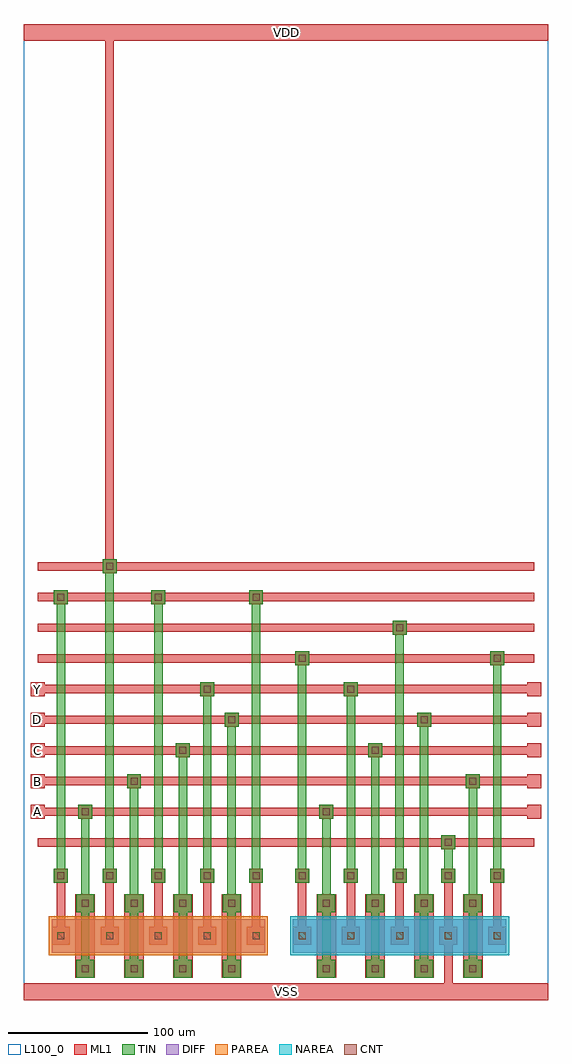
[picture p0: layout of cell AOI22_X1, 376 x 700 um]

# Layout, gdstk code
import gdstk
lib = gdstk.Library(unit=1e-6, precision=1e-09)
def R(c, l, rs):  # rectangles x0, y0, x1, y1
    for r in rs: c.add(gdstk.rectangle(r[:2], r[2:], *l))
def A(c, l, x, y, w, h, nx, ny, dx, dy):  # array of equal rectangles
    R(c, l, [(x+i*dx, y+j*dy, x+i*dx+w, y+j*dy+h) for i in range(nx) for j in range(ny)])
DIFF = (3, 0)
TIN = (5, 0)
CNT = (7, 0)
ML1 = (8, 0)
PAREA = (18, 0)
NAREA = (19, 0)
L100_0 = (100, 0)

aoi22_x1 = lib.new_cell('AOI22_X1')
R(aoi22_x1, DIFF, [(20,34,173,58), (193,34,346,58)])
A(aoi22_x1, TIN, 37.5, 16, 13, 13, 4, 2, 35, 47)
A(aoi22_x1, TIN, 210.5, 16, 13, 13, 4, 2, 35, 47)
A(aoi22_x1, TIN, 41, 28, 6, 37.5, 4, 1, 35, 0)
A(aoi22_x1, TIN, 214, 28, 6, 37.5, 4, 1, 35, 0)
A(aoi22_x1, TIN, 21.5, 84, 10, 10, 5, 1, 35, 0)
A(aoi22_x1, TIN, 194.5, 84, 10, 10, 5, 1, 35, 0)
A(aoi22_x1, TIN, 23.5, 89, 6, 200, 3, 1, 70, 0)
A(aoi22_x1, TIN, 21.5, 284, 10, 10, 3, 1, 70, 0)
R(aoi22_x1, TIN, [(41,69.5,47,135), (76,69.5,82,157), (111,69.5,117,179), (146,69.5,152,201), (214,69.5,220,135), (249,69.5,255,179), (284,69.5,290,201), (319,69.5,325,157), (58.5,89,64.5,311), (128.5,89,134.5,223), (196.5,89,202.5,245), (231.5,89,237.5,223), (266.5,89,272.5,267), (301.5,89,307.5,113), (336.5,89,342.5,245), (299.5,108,309.5,118), (39,130,49,140), (212,130,222,140), (74,152,84,162), (317,152,327,162), (109,174,119,184), (247,174,257,184), (144,196,154,206), (282,196,292,206), (126.5,218,136.5,228), (229.5,218,239.5,228), (194.5,240,204.5,250), (334.5,240,344.5,250), (264.5,262,274.5,272), (56.5,306,66.5,316)])
A(aoi22_x1, CNT, 41.5, 20, 5, 5, 4, 2, 35, 47)
A(aoi22_x1, CNT, 214.5, 20, 5, 5, 4, 2, 35, 47)
A(aoi22_x1, CNT, 24, 43.5, 5, 5, 5, 2, 35, 43)
A(aoi22_x1, CNT, 197, 43.5, 5, 5, 5, 2, 35, 43)
A(aoi22_x1, CNT, 24, 286.5, 5, 5, 3, 1, 70, 0)
R(aoi22_x1, CNT, [(302,110.5,307,115.5), (41.5,132.5,46.5,137.5), (214.5,132.5,219.5,137.5), (76.5,154.5,81.5,159.5), (319.5,154.5,324.5,159.5), (111.5,176.5,116.5,181.5), (249.5,176.5,254.5,181.5), (146.5,198.5,151.5,203.5), (284.5,198.5,289.5,203.5), (129,220.5,134,225.5), (232,220.5,237,225.5), (197,242.5,202,247.5), (337,242.5,342,247.5), (267,264.5,272,269.5), (59,308.5,64,313.5)])
A(aoi22_x1, ML1, 37, 16, 14, 60, 4, 1, 35, 0)
A(aoi22_x1, ML1, 37.5, 16, 13, 13, 4, 2, 35, 47)
A(aoi22_x1, ML1, 210, 16, 14, 60, 4, 1, 35, 0)
A(aoi22_x1, ML1, 210.5, 16, 13, 13, 4, 2, 35, 47)
A(aoi22_x1, ML1, 20, 39.5, 13, 13, 5, 1, 35, 0)
A(aoi22_x1, ML1, 193, 39.5, 13, 13, 5, 1, 35, 0)
A(aoi22_x1, ML1, 23.5, 46, 6, 43, 5, 1, 35, 0)
A(aoi22_x1, ML1, 196.5, 46, 6, 43, 5, 1, 35, 0)
A(aoi22_x1, ML1, 21.5, 84, 10, 10, 5, 1, 35, 0)
A(aoi22_x1, ML1, 194.5, 84, 10, 10, 5, 1, 35, 0)
A(aoi22_x1, ML1, 10, 110, 356, 6, 1, 10, 0, 22)
A(aoi22_x1, ML1, 5, 130, 10, 10, 1, 5, 0, 22)
A(aoi22_x1, ML1, 361, 130, 10, 10, 1, 5, 0, 22)
A(aoi22_x1, ML1, 21.5, 284, 10, 10, 3, 1, 70, 0)
R(aoi22_x1, ML1, [(0,0,376,12), (301.5,3,307.5,92), (299.5,108,309.5,118), (39,130,49,140), (212,130,222,140), (74,152,84,162), (317,152,327,162), (109,174,119,184), (247,174,257,184), (144,196,154,206), (282,196,292,206), (126.5,218,136.5,228), (229.5,218,239.5,228), (194.5,240,204.5,250), (334.5,240,344.5,250), (264.5,262,274.5,272), (56.5,306,66.5,316), (58.5,308,64.5,697), (0,688,376,700)])
R(aoi22_x1, PAREA, [(18,32,175,60)])
R(aoi22_x1, NAREA, [(191,32,348,60)])
R(aoi22_x1, L100_0, [(0,0,376,700)])
aoi22_x1.add(gdstk.Label('A', (10,135), layer=13, texttype=0))
aoi22_x1.add(gdstk.Label('B', (10,157), layer=13, texttype=0))
aoi22_x1.add(gdstk.Label('C', (10,179), layer=13, texttype=0))
aoi22_x1.add(gdstk.Label('D', (10,201), layer=13, texttype=0))
aoi22_x1.add(gdstk.Label('Y', (10,223), layer=13, texttype=0))
aoi22_x1.add(gdstk.Label('VDD', (188,694), layer=13, texttype=0))
aoi22_x1.add(gdstk.Label('VSS', (188,6), layer=13, texttype=0))

lib.write_gds('AOI22_X1.gds')
